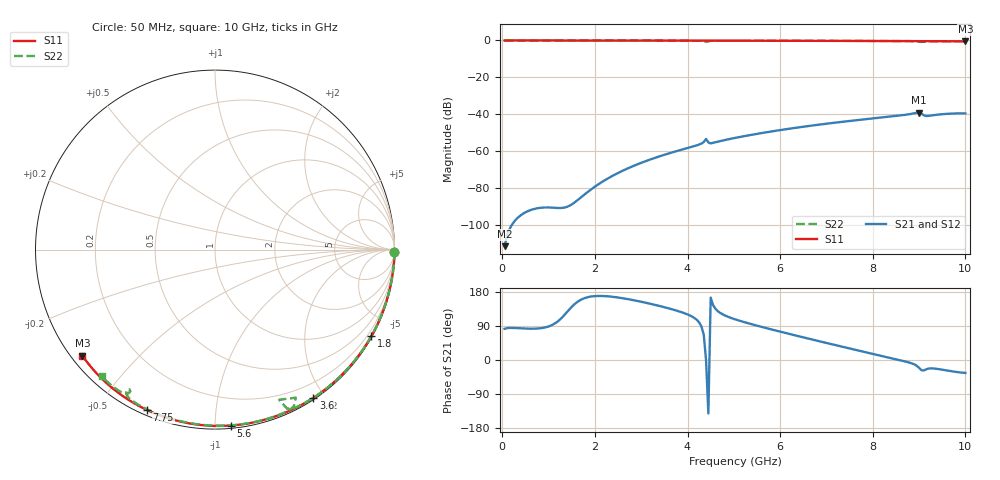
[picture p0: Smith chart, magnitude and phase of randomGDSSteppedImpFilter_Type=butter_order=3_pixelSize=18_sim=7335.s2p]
! freq	dB(S11)	phase(S11)	dB(S12)	phase(S12)
!  dB(S21)	phase(S21)	dB(S22)	phase(S22)
!S-par simulation data
#  GHz  S  DB  R 50
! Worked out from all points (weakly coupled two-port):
!   200 points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, 50 MHz to 10 GHz, reference 50 ohm
!   highest |S21| = -39.05 dB at 9 GHz (marker M1); lowest = -111.5 dB at 50 MHz (marker M2)
!   lowest |S11| = -0.5 dB at 10 GHz (marker M3), VSWR 36.29, Z = 1.55 - j17.5 ohm
!   |S11| at or under -10 dB: nowhere
!   |S22| runs from -0.8 to 0.0 dB; largest |S21 - S12| = 0
!   S11 on the Smith chart (normalised r, x): 50 MHz: open; 1.8 GHz: 0.03, -3.88; 3.6 GHz: 0.02, -1.86; 5.6 GHz: 0.02, -1.09; 7.75 GHz: 0.02, -0.66; 10 GHz: 0.03, -0.35
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0.05  -0.00 -0.8  -111.49 82.3  -111.49 82.3  -0.00 -0.8
0.9  -0.02 -14.6  -90.53 85.3  -90.53 85.3  -0.02 -13.7
1.75  -0.04 -28.1  -84.01 162.0  -84.01 162.0  -0.03 -26.4
1.8  -0.04 -28.9  -83.01 164.2  -83.01 164.2  -0.03 -27.1
1.95  -0.04 -31.3  -80.14 168.1  -80.14 168.1  -0.04 -29.3
2.25  -0.05 -36.0  -75.20 168.3  -75.20 168.3  -0.04 -33.7
2.6  -0.05 -41.4  -70.59 163.0  -70.59 163.0  -0.05 -38.8
3.4  -0.07 -53.5  -62.76 142.4  -62.76 142.4  -0.07 -50.3
3.6  -0.08 -56.5  -61.18 136.1  -61.18 136.1  -0.07 -53.2
4.25  -0.09 -66.0  -56.42 99.4  -56.42 99.4  -0.11 -63.0
4.35  -0.10 -67.4  -55.06 67.1  -55.06 67.1  -0.24 -65.6
4.4  -0.10 -68.1  -53.40 -0.3  -53.40 -0.3  -0.82 -66.8
4.45  -0.10 -68.8  -55.24 -140.9  -55.24 -140.9  -0.54 -61.4
4.5  -0.10 -69.6  -55.77 164.7  -55.77 164.7  -0.21 -63.2
5.05  -0.12 -77.3  -52.70 106.4  -52.70 106.4  -0.11 -72.3
5.6  -0.14 -84.9  -50.19 87.4  -50.19 87.4  -0.13 -79.6
6.7  -0.19 -99.5  -46.08 53.8  -46.08 53.8  -0.18 -93.5
7.75  -0.26 -113.0  -42.94 23.3  -42.94 23.3  -0.25 -106.3
8.35  -0.31 -120.5  -41.34 6.3  -41.34 6.3  -0.29 -113.5
9  -0.37 -128.7  -39.05 -20.7  -39.05 -20.7  -0.66 -122.1
9.15  -0.38 -130.5  -40.95 -24.7  -40.95 -24.7  -0.59 -121.1
10  -0.48 -141.3  -39.53 -34.2  -39.53 -34.2  -0.47 -131.8
